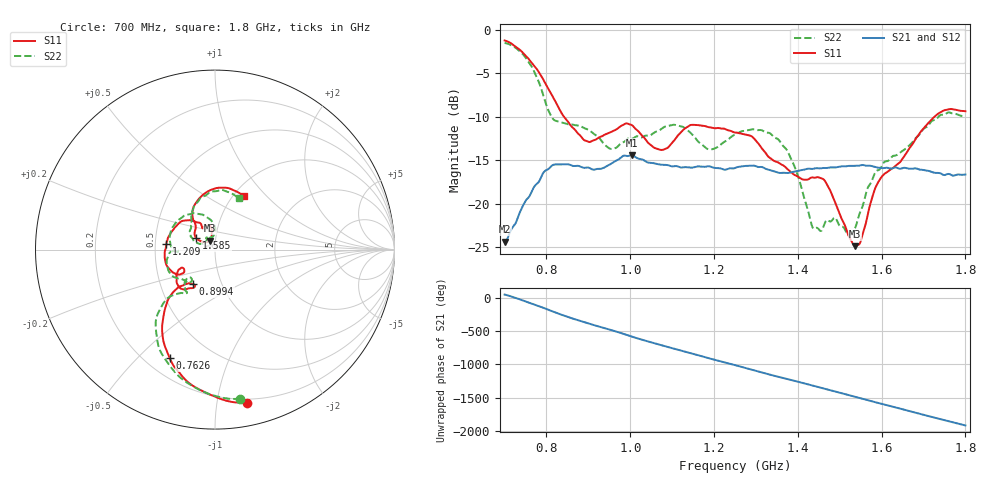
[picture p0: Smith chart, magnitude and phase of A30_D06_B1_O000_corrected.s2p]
! Created with skrf 1.9.0 (http://scikit-rf.org).
# Hz S RI R 50.0
!freq ReS11 ImS11 ReS21 ImS21 ReS12 ImS12 ReS22 ImS22
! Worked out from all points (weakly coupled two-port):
!   1601 points, 700 MHz to 1.8 GHz, reference 50 ohm
!   highest |S21| = -14.42 dB at 1.003 GHz (marker M1); lowest = -24.4 dB at 701.4 MHz (marker M2)
!   lowest |S11| = -24.9 dB at 1.537 GHz (marker M3), VSWR 1.12, Z = 47.2 + j4.76 ohm
!   |S11| at or under -10 dB: 841.8 MHz to 1.726 GHz (884.3 MHz wide, 68.9 % of centre)
!   |S22| runs from -23.6 to -1.5 dB; largest |S21 - S12| = 0.0035
!   S11 on the Smith chart (normalised r, x): 700 MHz: 0.17, -1.21; 762.6 MHz: 0.29, -0.63; 899.4 MHz: 0.73, -0.30; 1.209 GHz: 0.57, +0.04; 1.585 GHz: 0.80, +0.10; 1.8 GHz: 1.11, +0.76
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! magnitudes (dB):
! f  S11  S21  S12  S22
! 700 MHz  -1.2  -24.4  -24.2  -1.5
! 701.4 MHz  -1.2  -24.4  -24.0  -1.5
! 762.6 MHz  -3.7  -18.9  -18.8  -4.0
! 815.5 MHz  -7.7  -15.6  -15.6  -10.2
! 883.6 MHz  -12.3  -15.8  -15.7  -11.1
! 899.4 MHz  -12.9  -15.8  -15.9  -11.5
! 953.7 MHz  -11.8  -15.4  -15.4  -13.7
! 1.003 GHz  -10.9  -14.4  -14.5  -12.5
! 1.067 GHz  -13.7  -15.5  -15.4  -11.6
! 1.143 GHz  -11.0  -15.8  -15.8  -11.8
! 1.209 GHz  -11.3  -15.9  -15.9  -13.5
! 1.25 GHz  -11.8  -15.9  -15.8  -12.1
! 1.356 GHz  -15.4  -16.5  -16.4  -12.7
! 1.394 GHz  -16.8  -16.3  -16.3  -16.0
! 1.434 GHz  -17.0  -16.0  -16.0  -22.6
! 1.467 GHz  -17.5  -15.9  -15.9  -22.0
! 1.537 GHz  -24.9  -15.6  -15.7  -22.8
! 1.551 GHz  -24.2  -15.6  -15.6  -20.7
! 1.585 GHz  -18.2  -15.8  -15.8  -16.4
! 1.617 GHz  -16.2  -15.9  -15.9  -15.0
! 1.733 GHz  -9.7  -16.5  -16.5  -10.2
! 1.8 GHz  -9.4  -16.6  -16.6  -10.0
